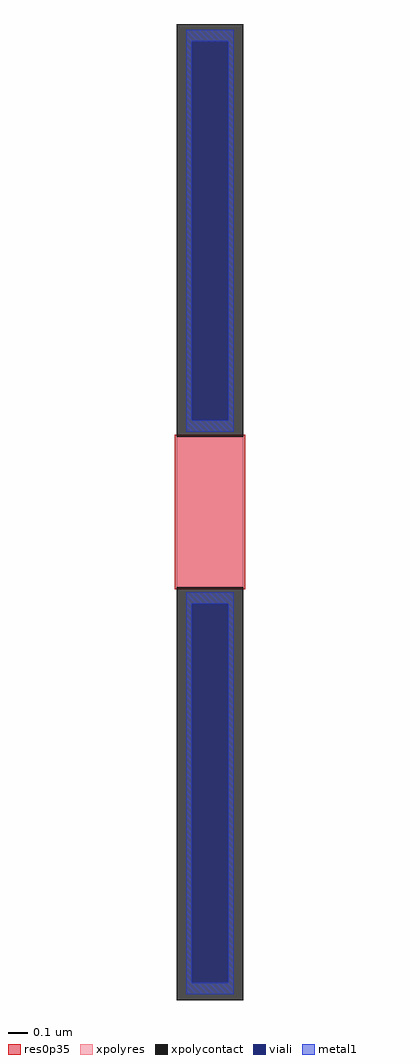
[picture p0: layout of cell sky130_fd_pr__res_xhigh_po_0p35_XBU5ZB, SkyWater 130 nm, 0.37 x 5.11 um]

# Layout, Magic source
magic
tech sky130A
magscale 1 2
<< xpolycontact >>
rect -35 79 35 511
rect -35 -511 35 -79
<< xpolyres >>
rect -35 -79 35 79
<< viali >>
rect -19 96 19 493
rect -19 -493 19 -96
<< metal1 >>
rect -25 493 25 505
rect -25 96 -19 493
rect 19 96 25 493
rect -25 84 25 96
rect -25 -96 25 -84
rect -25 -493 -19 -96
rect 19 -493 25 -96
rect -25 -505 25 -493
<< res0p35 >>
rect -37 -81 37 81
<< properties >>
string gencell sky130_fd_pr__res_xhigh_po_0p35
string parameters w 0.350 l 0.79 m 1 nx 1 wmin 0.350 lmin 0.50 rho 2000 val 5.2k dummy 0 dw 0.0 term 120 sterm 0.0 caplen 0 wmax 0.350 guard 0 glc 0 grc 0 gtc 0 gbc 0 compatible {sky130_fd_pr__res_xhigh_po_0p35  sky130_fd_pr__res_xhigh_po_0p69 sky130_fd_pr__res_xhigh_po_1p41  sky130_fd_pr__res_xhigh_po_2p85 sky130_fd_pr__res_xhigh_po_5p73} full_metal 0 vias 1 viagb 0 viagt 0 viagl 0 viagr 0
string library sky130
<< end >>
